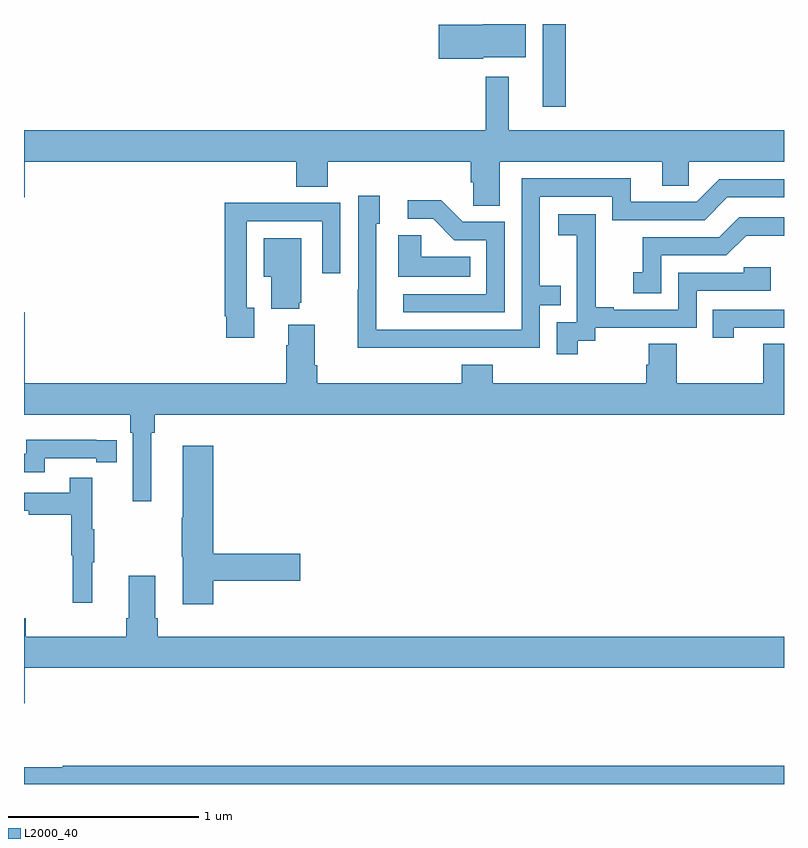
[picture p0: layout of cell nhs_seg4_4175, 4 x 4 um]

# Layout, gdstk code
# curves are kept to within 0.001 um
import gdstk
lib = gdstk.Library(unit=1e-6, precision=1e-09)
def R(c, l, rs):  # rectangles x0, y0, x1, y1
    for r in rs: c.add(gdstk.rectangle(r[:2], r[2:], *l))
def P(c, l, *ps):  # polygons
    for p in ps: c.add(gdstk.Polygon(p, *l))
L2000_40 = (2000, 40)

nhs_seg4_4175 = lib.new_cell('nhs_seg4_4175')
R(nhs_seg4_4175, L2000_40, [(335.729,774.465,335.851,774.9)])
P(nhs_seg4_4175, L2000_40, [(335.418,774.725),(335.641,774.725),(335.641,774.9),(335.414,774.9),(335.414,774.896),(335.184,774.896),(335.184,774.718),(335.418,774.718)],
  [(335.503,774.176),(336.359,774.176),(336.359,774.049),(336.498,774.049),(336.498,774.176),(337,774.176),(337,774.34),(335.551,774.34),(335.551,774.622),(335.43,774.622),(335.43,774.34),(333,774.34),(333,773.988),(333.004,773.988),(333.004,774.176),(334.433,774.176),(334.433,774.043),(334.598,774.043),(334.598,774.176),(335.351,774.176),(335.351,774.067),(335.364,774.067),(335.364,773.944),(335.503,773.944)],
  [(335.219,773.196),(335.715,773.196),(335.715,773.421),(335.825,773.421),(335.825,773.522),(335.715,773.522),(335.715,773.991),(336.096,773.991),(336.096,773.868),(336.582,773.868),(336.702,773.988),(337,773.988),(337,774.084),(336.66,774.084),(336.54,773.964),(336.193,773.964),(336.193,774.087),(335.619,774.087),(335.619,773.292),(334.854,773.292),(334.854,773.85),(334.873,773.85),(334.873,773.995),(334.758,773.995),(334.758,773.501),(334.756,773.501),(334.756,773.195)],
  [(335.529,773.859),(335.31,773.859),(335.197,773.972),(335.019,773.972),(335.019,773.874),(335.153,773.874),(335.264,773.763),(335.433,773.763),(335.433,773.478),(334.995,773.478),(334.995,773.382),(335.529,773.382)],
  [(334.213,773.406),(334.173,773.406),(334.173,773.862),(334.569,773.862),(334.569,773.589),(334.665,773.589),(334.665,773.958),(334.349,773.958),(334.349,773.96),(334.057,773.96),(334.057,773.362),(334.065,773.362),(334.065,773.25),(334.213,773.25)],
  [(335.914,773.233),(336.006,773.233),(336.006,773.301),(336.54,773.301),(336.54,773.496),(336.929,773.496),(336.929,773.619),(336.789,773.619),(336.789,773.592),(336.444,773.592),(336.444,773.397),(336.103,773.397),(336.103,773.41),(336.008,773.41),(336.008,773.693),(336.009,773.693),(336.009,773.899),(335.811,773.899),(335.811,773.789),(335.909,773.789),(335.909,773.561),(335.91,773.561),(335.91,773.331),(335.805,773.331),(335.805,773.163),(335.914,773.163)],
  [(336.354,773.682),(336.696,773.682),(336.8,773.786),(337,773.786),(337,773.883),(336.764,773.883),(336.659,773.778),(336.256,773.778),(336.256,773.593),(336.207,773.593),(336.207,773.484),(336.354,773.484)],
  [(335.348,773.674),(335.091,773.674),(335.091,773.789),(334.97,773.789),(334.97,773.57),(335.348,773.57)],
  [(334.448,773.433),(334.459,773.433),(334.459,773.773),(334.262,773.773),(334.262,773.57),(334.301,773.57),(334.301,773.402),(334.448,773.402)],
  [(336.736,773.301),(337,773.301),(337,773.397),(336.625,773.397),(336.625,773.25),(336.736,773.25)],
  [(333.67,772.748),(333.689,772.748),(333.689,772.844),(337,772.844),(337,773.216),(336.892,773.216),(336.892,773.008),(336.435,773.008),(336.435,773.216),(336.287,773.216),(336.287,773.106),(336.275,773.106),(336.275,773.008),(335.468,773.008),(335.468,773.107),(335.303,773.107),(335.303,773.008),(334.544,773.008),(334.544,773.104),(334.531,773.104),(334.531,773.317),(334.391,773.317),(334.391,773.21),(334.379,773.21),(334.379,773.008),(333.004,773.008),(333.004,773.383),(333,773.383),(333,772.844),(333.56,772.844),(333.56,772.748),(333.573,772.748),(333.573,772.389),(333.67,772.389)],
  [(333.108,772.614),(333.38,772.614),(333.38,772.594),(333.488,772.594),(333.488,772.71),(333.38,772.71),(333.38,772.711),(333.012,772.711),(333.012,772.638),(333,772.638),(333,772.542),(333.108,772.542)],
  [(333.995,771.97),(334.453,771.97),(334.453,772.112),(333.995,772.112),(333.995,772.681),(333.836,772.681),(333.836,772.301),(333.829,772.301),(333.829,772.095),(333.836,772.095),(333.836,771.846),(333.995,771.846)],
  [(333.359,772.067),(333.37,772.067),(333.37,772.241),(333.359,772.241),(333.359,772.513),(333.241,772.513),(333.241,772.434),(333,772.434),(333,772.338),(333.025,772.338),(333.025,772.318),(333.249,772.318),(333.249,772.104),(333.256,772.104),(333.256,771.855),(333.359,771.855)],
  [(333.004,771.512),(337,771.512),(337,771.676),(333.704,771.676),(333.704,771.772),(333.691,771.772),(333.691,771.997),(333.551,771.997),(333.551,771.772),(333.539,771.772),(333.539,771.676),(333.008,771.676),(333.008,771.772),(333,771.772),(333,771.324),(333.004,771.324)],
  [(337,770.996),(333.203,770.996),(333.203,770.989),(333,770.989),(333,770.9),(337,770.9)])

lib.write_gds('nhs_seg4_4175.gds')
